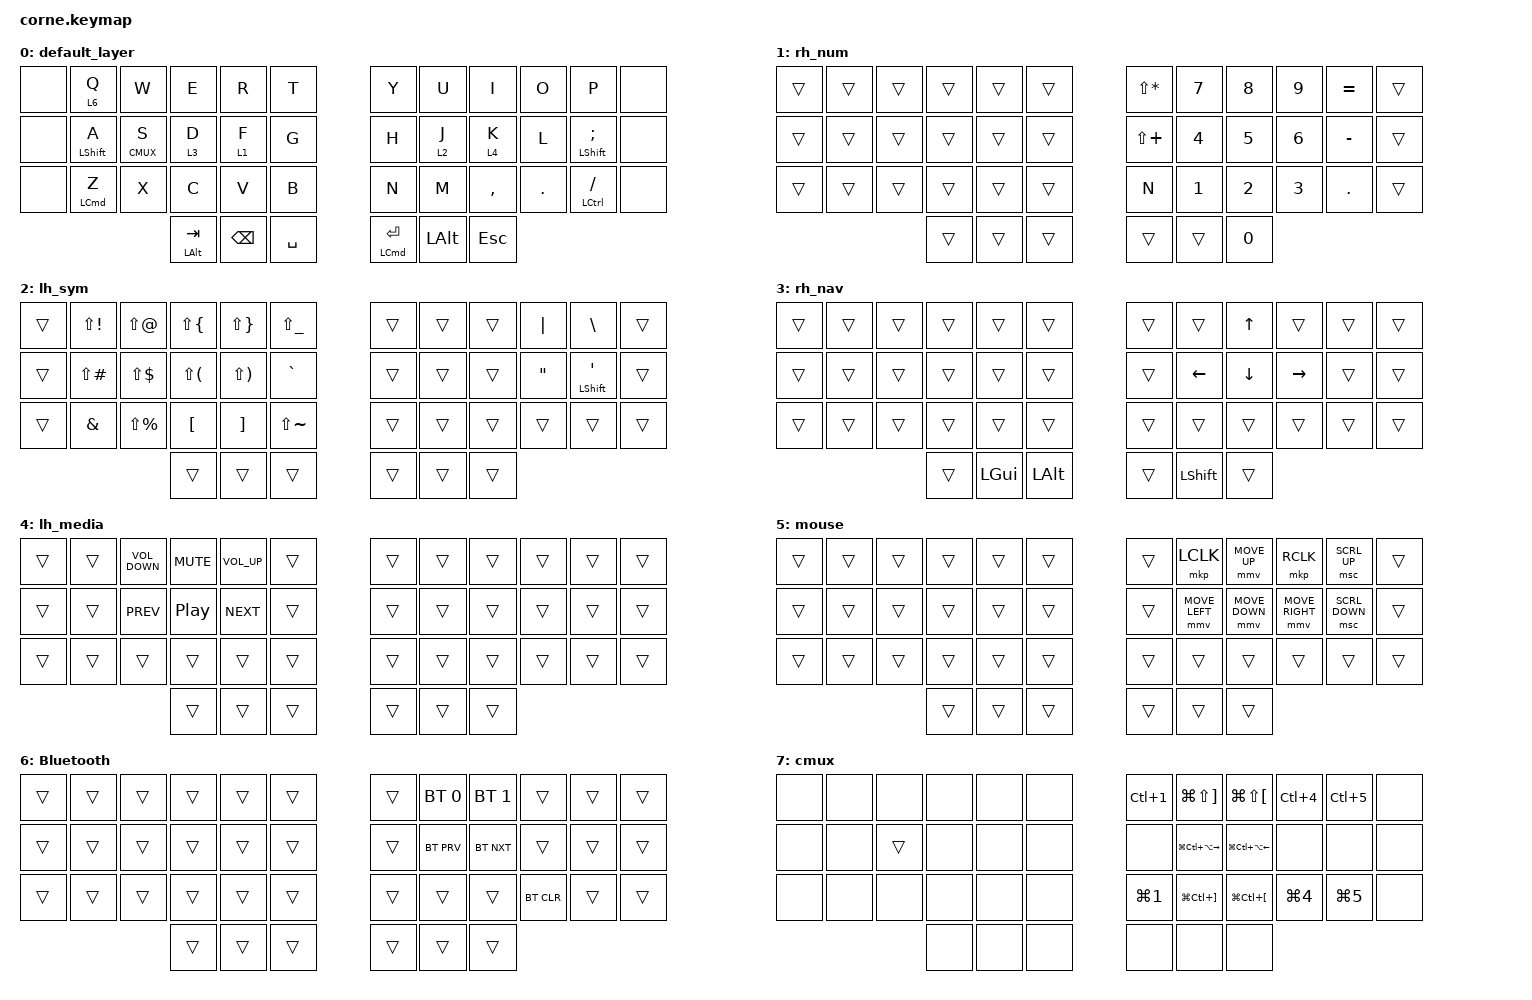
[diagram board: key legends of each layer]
/*
 * Copyright (c) 2020 The ZMK Contributors
 *
 * SPDX-License-Identifier: MIT
 */

#include <behaviors.dtsi>
#include <dt-bindings/zmk/bt.h>
#include <dt-bindings/zmk/keys.h>
#include <dt-bindings/zmk/pointing.h>

#define CMUX 7

/ {
    behaviors {
        cmux_s: cmux_layer_tap {
            compatible = "zmk,behavior-hold-tap";
            #binding-cells = <2>;
            bindings = <&mo>, <&kp>;
            flavor = "tap-preferred";
            tapping-term-ms = <200>;
        };

        hrl: homerow_layer {
            compatible = "zmk,behavior-hold-tap";
            label = "homerow_layer";
            bindings = <&mo>, <&kp>;

            #binding-cells = <2>;
            tapping-term-ms = <160>;
            flavor = "balanced";
        };

        hld_tp: hold_and_tap {
            compatible = "zmk,behavior-hold-tap";
            label = "HOLD_AND_TAP";
            bindings = <&kp>, <&kp>;

            #binding-cells = <2>;
            tapping-term-ms = <200>;
            flavor = "tap-preferred";
        };

        new_behavior: new_behavior {
            compatible = "zmk,behavior-hold-tap";
            label = "NEW_BEHAVIOR";
            bindings = <&mo>, <&kp>;

            #binding-cells = <2>;
            tapping-term-ms = <150>;
            hold-trigger-key-positions = <16 15 14 13 12 18 19 20 21 22 23 17>;
        };
    };

    combos {
        compatible = "zmk,combos";

        studio_unlock {
            bindings = <&studio_unlock>;
            key-positions = <1 10 29 30>;
        };

        caps_word {
            bindings = <&caps_word>;
            key-positions = <6 10>;
        };

        capslock {
            bindings = <&kp CAPSLOCK>;
            key-positions = <1 5>;
        };

        to_mouse {
            bindings = <&sl 5>;
            key-positions = <1 25>;
        };
    };

    keymap {
        compatible = "zmk,keymap";

        default_layer {
            // -----------------------------------------------------------------------------------------
            // |  TAB |  Q  |  W  |  E  |  R  |  T  |   |  Y  |  U   |  I  |  O  |  P  | BSPC |
            // | CTRL |  A  |  S  |  D  |  F  |  G  |   |  H  |  J   |  K  |  L  |  ;  |  '   |
            // | SHFT |  Z  |  X  |  C  |  V  |  B  |   |  N  |  M   |  ,  |  .  |  /  | ESC  |
            //                    | GUI | LWR | SPC |   | ENT | RSE  | ALT |

            bindings = <
&none  &hrl 6 Q                &kp W  &kp E                 &kp R          &kp T        &kp Y                       &kp U     &kp I      &kp O    &kp P                    &none
&none  &hld_tp LEFT_SHIFT A    &cmux_s CMUX S  &hrl 3 D     &hrl 1 F       &kp G        &kp H                       &hrl 2 J  &hrl 4 K   &kp L    &hld_tp LEFT_SHIFT SEMI  &none
&none  &hld_tp LEFT_COMMAND Z  &kp X  &kp C                 &kp V          &kp B        &kp N                       &kp M     &kp COMMA  &kp DOT  &hld_tp LCTRL SLASH      &none
                                      &hld_tp LEFT_ALT TAB  &kp BACKSPACE  &kp SPACE    &hld_tp LEFT_COMMAND ENTER  &kp LALT  &kp ESC
            >;
        };

        rh_num {
            bindings = <
&trans  &trans  &trans  &trans  &trans  &trans    &kp LS(STAR)  &kp N7  &kp N8  &kp N9  &kp EQUAL  &trans
&trans  &trans  &trans  &trans  &trans  &trans    &kp LS(PLUS)  &kp N4  &kp N5  &kp N6  &kp MINUS  &trans
&trans  &trans  &trans  &trans  &trans  &trans    &kp N         &kp N1  &kp N2  &kp N3  &kp DOT    &trans
                        &trans  &trans  &trans    &trans        &trans  &kp N0
            >;
        };

        lh_sym {
            bindings = <
&trans  &kp LS(EXCLAMATION)  &kp LS(AT_SIGN)  &kp LS(LEFT_BRACE)  &kp LS(RIGHT_BRACE)  &kp LS(UNDER)    &trans  &trans  &trans  &kp PIPE           &kp BACKSLASH                    &trans
&trans  &kp LS(POUND)        &kp LS(DLLR)     &kp LS(LPAR)        &kp LS(RPAR)         &kp GRAVE        &trans  &trans  &trans  &kp DOUBLE_QUOTES  &hld_tp LEFT_SHIFT SINGLE_QUOTE  &trans
&trans  &kp AMPS             &kp LS(PRCNT)    &kp LBKT            &kp RBKT             &kp LS(TILDE)    &trans  &trans  &trans  &trans             &trans                           &trans
                                              &trans              &trans               &trans           &trans  &trans  &trans
            >;
        };

        rh_nav {
            bindings = <
&trans  &trans  &trans  &trans  &trans    &trans      &trans  &trans     &kp UP    &trans     &trans  &trans
&trans  &trans  &trans  &trans  &trans    &trans      &trans  &kp LEFT   &kp DOWN  &kp RIGHT  &trans  &trans
&trans  &trans  &trans  &trans  &trans    &trans      &trans  &trans     &trans    &trans     &trans  &trans
                        &trans  &kp LGUI  &kp LALT    &trans  &kp LSHFT  &trans
            >;
        };

        lh_media {
            bindings = <
&trans  &trans  &kp C_VOLUME_DOWN  &kp K_MUTE        &kp C_VOLUME_UP  &trans    &trans  &trans  &trans  &trans  &trans  &trans
&trans  &trans  &kp C_PREV         &kp C_PLAY_PAUSE  &kp C_NEXT       &trans    &trans  &trans  &trans  &trans  &trans  &trans
&trans  &trans  &trans             &trans            &trans           &trans    &trans  &trans  &trans  &trans  &trans  &trans
                                   &trans            &trans           &trans    &trans  &trans  &trans
            >;
        };

        mouse {
            bindings = <
&trans  &trans  &trans  &trans  &trans  &trans    &trans  &mkp LCLK       &mmv MOVE_UP    &mkp RCLK        &msc SCRL_UP    &trans
&trans  &trans  &trans  &trans  &trans  &trans    &trans  &mmv MOVE_LEFT  &mmv MOVE_DOWN  &mmv MOVE_RIGHT  &msc SCRL_DOWN  &trans
&trans  &trans  &trans  &trans  &trans  &trans    &trans  &trans          &trans          &trans           &trans          &trans
                        &trans  &trans  &trans    &trans  &trans          &trans
            >;
        };

        Bluetooth {
            bindings = <
&trans  &trans  &trans  &trans  &trans  &trans    &trans  &bt BT_SEL 0  &bt BT_SEL 1  &trans      &trans  &trans
&trans  &trans  &trans  &trans  &trans  &trans    &trans  &bt BT_PRV    &bt BT_NXT    &trans      &trans  &trans
&trans  &trans  &trans  &trans  &trans  &trans    &trans  &trans        &trans        &bt BT_CLR  &trans  &trans
                        &trans  &trans  &trans    &trans  &trans        &trans
            >;
        };

        cmux {
            // U/J/M: next tab/tile/workspace; I/K/COMMA: previous.
            // Y/O/P: tabs 1/4/5; N/DOT/SLASH: workspaces 1/4/5.
            // No pinky hold actions or additional navigation layers.
            bindings = <
&none  &none  &none   &none  &none  &none    &kp LC(N1)  &kp LG(LS(RBKT))      &kp LG(LS(LBKT))     &kp LC(N4)  &kp LC(N5)  &none
&none  &none  &trans  &none  &none  &none    &none       &kp LG(LC(LA(RIGHT))) &kp LG(LC(LA(LEFT))) &none       &none       &none
&none  &none  &none   &none  &none  &none    &kp LG(N1)  &kp LG(LC(RBKT))      &kp LG(LC(LBKT))     &kp LG(N4)  &kp LG(N5)  &none
                            &none  &none  &none    &none  &none  &none
            >;
        };
    };
};
